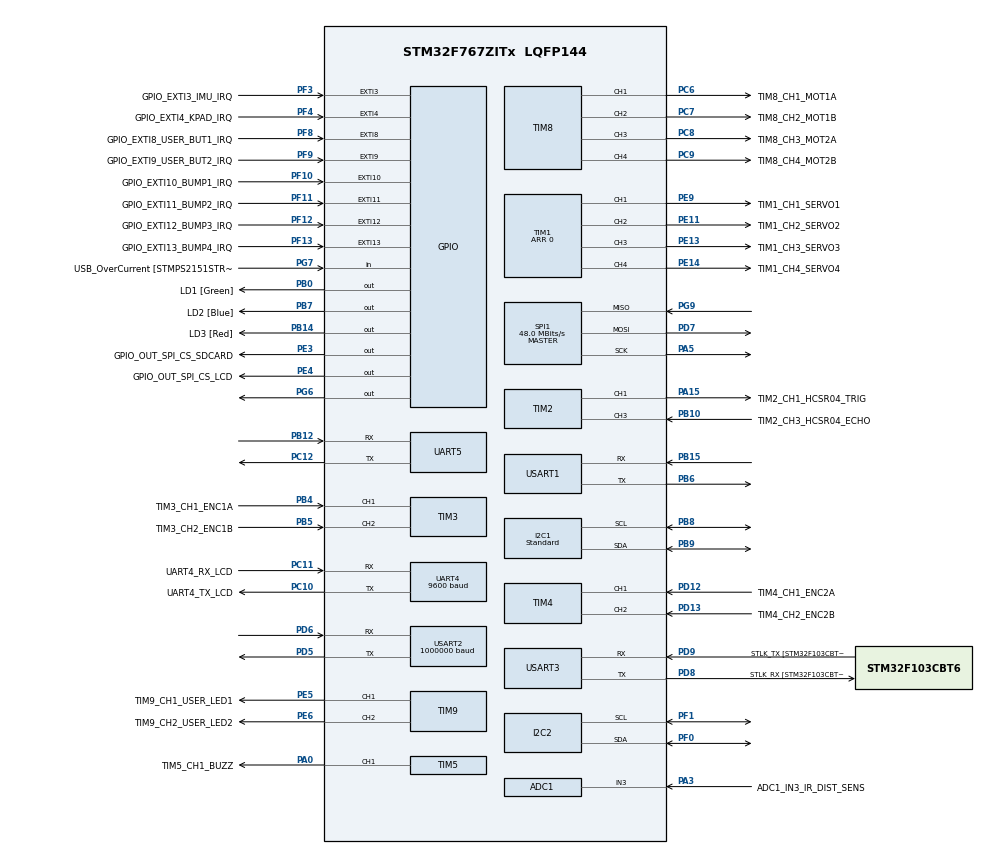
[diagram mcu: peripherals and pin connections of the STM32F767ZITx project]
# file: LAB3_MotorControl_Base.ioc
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ADC1.Channel-1\#ChannelRegularConversion=ADC_CHANNEL_3
ADC1.NbrOfConversionFlag=1
ADC1.Rank-1\#ChannelRegularConversion=1
ADC1.SamplingTime-1\#ChannelRegularConversion=ADC_SAMPLETIME_3CYCLES
ADC1.master=1
I2C1.I2C_Speed_Mode=I2C_Standard
I2C1.Timing=0x20303E5D
I2C2.Timing=0x20303E5D
Mcu.Family=STM32F7
Mcu.Name=STM32F767ZITx
Mcu.Package=LQFP144
Mcu.UserConstants=TIM3_ARR_VALUE,3839;TIM4_ARR_VALUE,3839;TIM8_PSC_VALUE,959;TIM8_ARR_VALUE,399;TIM6_PSC_VALUE,959;TIM6_ARR_VALUE,999;TIM1_PSC_VALUE,959;TIM1_ARR_VALUE,1999
NVIC.PriorityGroup=NVIC_PRIORITYGROUP_4
NVIC.TIM6_DAC_IRQn=true\:1\:0\:true\:false\:true\:true\:true\:true
PA0/WKUP.GPIO_Label=TIM5_CH1_BUZZ
PA0/WKUP.Signal=S_TIM5_CH1
PA1.GPIO_Label=RMII_REF_CLK [LAN8742A-CZ-TR_REFCLK0]
PA1.Signal=ETH_REF_CLK
PA10.GPIO_Label=USB_ID
PA10.Signal=USB_OTG_FS_ID
PA11.GPIO_Label=USB_DM
PA11.Signal=USB_OTG_FS_DM
PA12.GPIO_Label=USB_DP
PA12.Signal=USB_OTG_FS_DP
PA13.GPIO_Label=TMS
PA13.Mode=Serial_Wire
PA13.Signal=SYS_JTMS-SWDIO
PA14.GPIO_Label=TCK
PA14.Mode=Serial_Wire
PA14.Signal=SYS_JTCK-SWCLK
PA15.GPIO_Label=TIM2_CH1_HCSR04_TRIG
PA15.Signal=S_TIM2_CH1_ETR
PA2.GPIO_Label=RMII_MDIO [LAN8742A-CZ-TR_MDIO]
PA2.Signal=ETH_MDIO
PA3.GPIO_Label=ADC1_IN3_IR_DIST_SENS
PA3.Signal=ADCx_IN3
PA5.Mode=Full_Duplex_Master
PA5.Signal=SPI1_SCK
PA7.GPIO_Label=RMII_CRS_DV [LAN8742A-CZ-TR_CRS_DV]
PA7.Signal=ETH_CRS_DV
PA8.GPIO_Label=USB_SOF [TP1]
PA8.Signal=USB_OTG_FS_SOF
PA9.GPIO_Label=USB_VBUS
PA9.Signal=USB_OTG_FS_VBUS
PB0.GPIO_Label=LD1 [Green]
PB0.Signal=GPIO_Output
PB10.GPIO_Label=TIM2_CH3_HCSR04_ECHO
PB10.Signal=S_TIM2_CH3
PB12.Mode=Asynchronous
PB12.Signal=UART5_RX
PB13.GPIO_Label=RMII_TXD1 [LAN8742A-CZ-TR_TXD1]
PB13.Signal=ETH_TXD1
PB14.GPIO_Label=LD3 [Red]
PB14.Signal=GPIO_Output
PB15.Mode=Asynchronous
PB15.Signal=USART1_RX
PB3.GPIO_Label=SWO
PB3.Signal=SYS_JTDO-SWO
PB4.GPIO_Label=TIM3_CH1_ENC1A
PB4.Signal=S_TIM3_CH1
PB5.GPIO_Label=TIM3_CH2_ENC1B
PB5.Signal=S_TIM3_CH2
PB6.Mode=Asynchronous
PB6.Signal=USART1_TX
PB7.GPIO_Label=LD2 [Blue]
PB7.Signal=GPIO_Output
PB8.GPIO_Pu=GPIO_PULLUP
PB8.Mode=I2C
PB8.Signal=I2C1_SCL
PB9.GPIO_Pu=GPIO_PULLUP
PB9.Mode=I2C
PB9.Signal=I2C1_SDA
PC1.GPIO_Label=RMII_MDC [LAN8742A-CZ-TR_MDC]
PC1.Signal=ETH_MDC
PC10.GPIO_Label=UART4_TX_LCD
PC10.Mode=Asynchronous
PC10.Signal=UART4_TX
PC11.GPIO_Label=UART4_RX_LCD
PC11.Mode=Asynchronous
PC11.Signal=UART4_RX
PC12.Mode=Asynchronous
PC12.Signal=UART5_TX
PC14/OSC32_IN.Mode=LSE-External-Oscillator
PC14/OSC32_IN.Signal=RCC_OSC32_IN
PC15/OSC32_OUT.Mode=LSE-External-Oscillator
PC15/OSC32_OUT.Signal=RCC_OSC32_OUT
PC4.GPIO_Label=RMII_RXD0 [LAN8742A-CZ-TR_RXD0]
PC4.Signal=ETH_RXD0
PC5.GPIO_Label=RMII_RXD1 [LAN8742A-CZ-TR_RXD1]
PC5.Signal=ETH_RXD1
PC6.GPIO_Label=TIM8_CH1_MOT1A
PC6.Signal=S_TIM8_CH1
PC7.GPIO_Label=TIM8_CH2_MOT1B
PC7.Signal=S_TIM8_CH2
PC8.GPIO_Label=TIM8_CH3_MOT2A
PC8.Signal=S_TIM8_CH3
PC9.GPIO_Label=TIM8_CH4_MOT2B
PC9.Signal=S_TIM8_CH4
PD12.GPIO_Label=TIM4_CH1_ENC2A
PD12.Signal=S_TIM4_CH1
PD13.GPIO_Label=TIM4_CH2_ENC2B
PD13.Signal=S_TIM4_CH2
PD5.Mode=Asynchronous
PD5.Signal=USART2_TX
PD6.Mode=Asynchronous
PD6.Signal=USART2_RX
PD7.Mode=Full_Duplex_Master
PD7.Signal=SPI1_MOSI
PD8.GPIO_Label=STLK_RX [STM32F103CBT6_PA3]
PD8.Mode=Asynchronous
PD8.Signal=USART3_TX
PD9.GPIO_Label=STLK_TX [STM32F103CBT6_PA2]
PD9.Mode=Asynchronous
PD9.Signal=USART3_RX
PE11.GPIO_Label=TIM1_CH2_SERVO2
PE11.Signal=S_TIM1_CH2
PE13.GPIO_Label=TIM1_CH3_SERVO3
PE13.Signal=S_TIM1_CH3
PE14.GPIO_Label=TIM1_CH4_SERVO4
PE14.Signal=S_TIM1_CH4
PE3.GPIO_Label=GPIO_OUT_SPI_CS_SDCARD
PE3.Signal=GPIO_Output
PE4.GPIO_Label=GPIO_OUT_SPI_CS_LCD
PE4.Signal=GPIO_Output
PE5.GPIO_Label=TIM9_CH1_USER_LED1
PE5.Signal=S_TIM9_CH1
PE6.GPIO_Label=TIM9_CH2_USER_LED2
PE6.Signal=S_TIM9_CH2
PE9.GPIO_Label=TIM1_CH1_SERVO1
PE9.Signal=S_TIM1_CH1
PF0.GPIO_Pu=GPIO_PULLUP
PF0.Mode=I2C
PF0.Signal=I2C2_SDA
PF1.GPIO_Pu=GPIO_PULLUP
PF1.Mode=I2C
PF1.Signal=I2C2_SCL
PF10.GPIO_Label=GPIO_EXTI10_BUMP1_IRQ
PF10.Signal=GPXTI10
PF11.GPIO_Label=GPIO_EXTI11_BUMP2_IRQ
PF11.Signal=GPXTI11
PF12.GPIO_Label=GPIO_EXTI12_BUMP3_IRQ
PF12.Signal=GPXTI12
PF13.GPIO_Label=GPIO_EXTI13_BUMP4_IRQ
PF13.Signal=GPXTI13
PF3.GPIO_Label=GPIO_EXTI3_IMU_IRQ
PF3.Signal=GPXTI3
PF4.GPIO_Label=GPIO_EXTI4_KPAD_IRQ
PF4.GPIO_ModeDefaultEXTI=GPIO_MODE_IT_FALLING
PF4.Signal=GPXTI4
PF8.GPIO_Label=GPIO_EXTI8_USER_BUT1_IRQ
PF8.Signal=GPXTI8
PF9.GPIO_Label=GPIO_EXTI9_USER_BUT2_IRQ
PF9.Signal=GPXTI9
PG11.GPIO_Label=RMII_TX_EN [LAN8742A-CZ-TR_TXEN]
PG11.Signal=ETH_TX_EN
PG13.GPIO_Label=RMII_TXD0 [LAN8742A-CZ-TR_TXD0]
PG13.Signal=ETH_TXD0
PG6.Signal=GPIO_Output
PG7.GPIO_Label=USB_OverCurrent [STMPS2151STR_FAULT]
PG7.Signal=GPIO_Input
PG9.Mode=Full_Duplex_Master
PG9.Signal=SPI1_MISO
PH0/OSC_IN.GPIO_Label=MCO [STM32F103CBT6_PA8]
PH0/OSC_IN.Mode=HSE-External-Clock-Source
PH0/OSC_IN.Signal=RCC_OSC_IN
PH1/OSC_OUT.Mode=HSE-External-Clock-Source
PH1/OSC_OUT.Signal=RCC_OSC_OUT
ProjectManager.HeapSize=0x200
ProjectManager.StackSize=0x400
ProjectManager.TargetToolchain=STM32CubeIDE
RCC.48MHZClocksFreq_Value=24000000
RCC.AHBFreq_Value=96000000
RCC.APB1CLKDivider=RCC_HCLK_DIV2
RCC.APB1Freq_Value=48000000
RCC.APB1TimFreq_Value=96000000
RCC.APB2Freq_Value=96000000
RCC.APB2TimFreq_Value=96000000
RCC.CortexFreq_Value=96000000
RCC.HCLKFreq_Value=96000000
RCC.HSE_VALUE=8000000
RCC.HSI_VALUE=16000000
RCC.PLLM=4
RCC.PLLMUL=RCC_PLL_MUL9
RCC.PLLN=96
RCC.PLLQ=4
RCC.PLLSourceVirtual=RCC_PLLSOURCE_HSE
RCC.PRESCALERUSB=RCC_USBCLKSOURCE_PLL_DIV1_5
RCC.SYSCLKFreq_VALUE=96000000
RCC.SYSCLKSource=RCC_SYSCLKSOURCE_PLLCLK
RCC.SYSCLKSourceVirtual=RCC_SYSCLKSOURCE_PLLCLK
RCC.USBFreq_Value=48000000
RCC.VCOOutputFreq_Value=192000000
SH.ADCx_IN3.0=ADC1_IN3,IN3
SH.S_TIM1_CH1.0=TIM1_CH1,Forced Output1 CH1
SH.S_TIM1_CH2.0=TIM1_CH2,Forced Output2 CH2
SH.S_TIM1_CH3.0=TIM1_CH3,Forced Output3 CH3
SH.S_TIM1_CH4.0=TIM1_CH4,Forced Output4 CH4
SH.S_TIM2_CH1_ETR.0=TIM2_CH1,PWM Generation1 CH1
SH.S_TIM2_CH3.0=TIM2_CH3,Input_Capture3_from_TI3
SH.S_TIM3_CH1.0=TIM3_CH1,Encoder_Interface
SH.S_TIM3_CH2.0=TIM3_CH2,Encoder_Interface
SH.S_TIM4_CH1.0=TIM4_CH1,Encoder_Interface
SH.S_TIM4_CH2.0=TIM4_CH2,Encoder_Interface
SH.S_TIM5_CH1.0=TIM5_CH1,PWM Generation1 CH1
SH.S_TIM8_CH1.0=TIM8_CH1,PWM Generation1 CH1
SH.S_TIM8_CH2.0=TIM8_CH2,PWM Generation2 CH2
SH.S_TIM8_CH3.0=TIM8_CH3,PWM Generation3 CH3
SH.S_TIM8_CH4.0=TIM8_CH4,PWM Generation4 CH4
SH.S_TIM9_CH1.0=TIM9_CH1,PWM Generation1 CH1
SH.S_TIM9_CH2.0=TIM9_CH2,PWM Generation2 CH2
SPI1.CalculateBaudRate=48.0 MBits/s
SPI1.Direction=SPI_DIRECTION_2LINES
SPI1.Mode=SPI_MODE_MASTER
SPI1.VirtualType=VM_MASTER
TIM1.Channel-Forced\ Output1\ CH1=TIM_CHANNEL_1
TIM1.Channel-Forced\ Output2\ CH2=TIM_CHANNEL_2
TIM1.Channel-Forced\ Output3\ CH3=TIM_CHANNEL_3
TIM1.Channel-Forced\ Output4\ CH4=TIM_CHANNEL_4
TIM1.OCPolarity_1=TIM_OCPOLARITY_LOW
TIM1.OCPolarity_2=TIM_OCPOLARITY_LOW
TIM1.OCPolarity_3=TIM_OCPOLARITY_LOW
TIM1.OCPolarity_4=TIM_OCPOLARITY_LOW
TIM1.Period=0
TIM2.Channel-Input_Capture3_from_TI3=TIM_CHANNEL_3
TIM2.Channel-PWM\ Generation1\ CH1=TIM_CHANNEL_1
TIM3.EncoderMode=TIM_ENCODERMODE_TI12
TIM3.IC1Filter=15
TIM3.IC2Filter=15
TIM3.Period=TIM3_ARR_VALUE
TIM4.EncoderMode=TIM_ENCODERMODE_TI12
TIM4.IC1Filter=15
TIM4.IC2Filter=15
TIM4.Period=TIM4_ARR_VALUE
TIM5.Channel-PWM\ Generation1\ CH1=TIM_CHANNEL_1
TIM6.Period=TIM6_ARR_VALUE
TIM6.Prescaler=TIM6_PSC_VALUE
TIM8.Channel-PWM\ Generation1\ CH1=TIM_CHANNEL_1
TIM8.Channel-PWM\ Generation2\ CH2=TIM_CHANNEL_2
TIM8.Channel-PWM\ Generation3\ CH3=TIM_CHANNEL_3
TIM8.Channel-PWM\ Generation4\ CH4=TIM_CHANNEL_4
TIM8.Period=TIM8_ARR_VALUE
TIM8.Prescaler=TIM8_PSC_VALUE
TIM9.Channel-PWM\ Generation1\ CH1=TIM_CHANNEL_1
TIM9.Channel-PWM\ Generation2\ CH2=TIM_CHANNEL_2
UART4.BaudRate=9600
USART1.VirtualMode-Asynchronous=VM_ASYNC
USART2.BaudRate=1000000
USART2.VirtualMode-Asynchronous=VM_ASYNC
USART3.VirtualMode-Asynchronous=VM_ASYNC
VP_TIM1_VS_ClockSourceINT.Mode=Internal
VP_TIM2_VS_ClockSourceINT.Mode=Internal
VP_TIM5_VS_ClockSourceINT.Mode=Internal
VP_TIM6_VS_ClockSourceINT.Mode=Enable_Timer
VP_TIM8_VS_ClockSourceINT.Mode=Internal
board=NUCLEO-F767ZI

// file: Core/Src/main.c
/* USER CODE BEGIN Header */
/**
 ******************************************************************************
 * @file           : main.c
 * @brief          : Main program body
 ******************************************************************************
 * @attention
 *
 * <h2><center>&copy; Copyright (c) 2021 STMicroelectronics.
 * All rights reserved.</center></h2>
 *
 * This software component is licensed by ST under BSD 3-Clause license,
 * the "License"; You may not use this file except in compliance with the
 * License. You may obtain a copy of the License at:
 *                        opensource.org/licenses/BSD-3-Clause
 *
 ******************************************************************************
 */
/* USER CODE END Header */
#include "main.h"

/* USER CODE BEGIN Includes */
#include <math.h>
#include <stdbool.h>
#include "ertc-datalogger.h"
#include "motor_control.h"
#include "keypad.h"

/* USER CODE END Includes */

/* USER CODE BEGIN PD */
//#define	HAL_TIMEOUT		1
/* USER CODE END PD */

ADC_HandleTypeDef hadc1;

I2C_HandleTypeDef hi2c1;
I2C_HandleTypeDef hi2c2;

SPI_HandleTypeDef hspi1;

TIM_HandleTypeDef htim1;
TIM_HandleTypeDef htim2;
TIM_HandleTypeDef htim3;
TIM_HandleTypeDef htim4;
TIM_HandleTypeDef htim5;
TIM_HandleTypeDef htim6;
TIM_HandleTypeDef htim8;
TIM_HandleTypeDef htim9;

UART_HandleTypeDef huart4;
UART_HandleTypeDef huart5;
UART_HandleTypeDef huart1;
UART_HandleTypeDef huart2;
UART_HandleTypeDef huart3;

/* USER CODE BEGIN PV */
struct ertc_dlog logger;
/* USER CODE END PV */

void SystemClock_Config(void);
static void MX_GPIO_Init(void);
static void MX_USART3_UART_Init(void);
static void MX_ADC1_Init(void);
static void MX_I2C1_Init(void);
static void MX_I2C2_Init(void);
static void MX_SPI1_Init(void);
static void MX_TIM1_Init(void);
static void MX_TIM2_Init(void);
static void MX_TIM3_Init(void);
static void MX_TIM4_Init(void);
static void MX_TIM5_Init(void);
static void MX_TIM8_Init(void);
static void MX_UART4_Init(void);
static void MX_UART5_Init(void);
static void MX_USART1_UART_Init(void);
static void MX_USART2_UART_Init(void);
static void MX_TIM9_Init(void);
static void MX_TIM6_Init(void);

/* USER CODE BEGIN 0 */
struct datalog {
	float mot1_ref;
	float mot2_ref;
	float mot1_speed_rpm;
	float mot2_speed_rpm;
	float u1;
	float u2;
} data;

Encoder motor1_encoder = { .prev_count = 0, .speed_rpm = 0 };

Encoder motor2_encoder = { .prev_count = 0, .speed_rpm = 0 };

PI_Controller motor1_pi = { .kp = 5, .ki = 4, .integral = 0, .ref = 60 };

PI_Controller motor2_pi = { .kp = 5, .ki = 4, .integral = 0, .ref = 60 };

// Set reference speed with keypad
char input_buffer[6] = { 0 };  // To store up to 5 digits
int input_index = 0;

void handle_keypad_input(PI_Controller *controller) {
	char key = get_keypad_key();
	// Print the pressed button - safety check
	if (key != '\0') {
		printf("Key pressed: %c\n", key);
	}

	if (key >= '0' && key <= '9') {
		if (input_index < sizeof(input_buffer) - 1) {
			input_buffer[input_index++] = key;
			input_buffer[input_index] = '\0';
		}
	} else if (key == '#') {
		if (input_index > 0) {
			float new_ref = atof(input_buffer);  // ASCII to Float
			// TODO check speed bound on reference
			controller->ref = new_ref;

			// Workaround the impossibility to print float
			int sp_int = (int) (new_ref * 100);
			printf("Reference speed = %d.%02d\n RPM", sp_int / 100,
					sp_int % 100);
		}
		input_index = 0;
		input_buffer[0] = '\0';
	} else if (key == '*') {
		input_index = 0;
		input_buffer[0] = '\0';
		printf("Input cleared\n");
	}
}

void HAL_TIM_PeriodElapsedCallback(TIM_HandleTypeDef *htim) {
	if (htim->Instance == TIM6) {
		// Motor 1
		encoder_update(&motor1_encoder, &htim3, 3840);
		float u1 = pi_control(&motor1_pi, motor1_encoder.speed_rpm);
		int32_t duty1 = (int32_t) (u1 * V2DUTY);
		set_motor_pwm(duty1, &htim8, TIM_CHANNEL_1, TIM_CHANNEL_2);

		// Motor 2
		encoder_update(&motor2_encoder, &htim4, 3840);
		float u2 = pi_control(&motor2_pi, motor2_encoder.speed_rpm);
		int32_t duty2 = (int32_t) (u2 * V2DUTY);
		set_motor_pwm(duty2, &htim8, TIM_CHANNEL_3, TIM_CHANNEL_4);

		data.mot1_ref = motor1_pi.ref;
		data.mot2_ref = motor2_pi.ref;
		data.mot1_speed_rpm = motor1_encoder.speed_rpm;
		data.mot2_speed_rpm = motor2_encoder.speed_rpm;
		data.u1 = u1;
		data.u1 = u2;
	}
}
/* USER CODE END 0 */

int main(void) {

/* USER CODE BEGIN 1 */
uint8_t data;
HAL_StatusTypeDef status;
/* USER CODE END 1 */

/* Reset of all peripherals, Initializes the Flash interface and the Systick. */
HAL_Init();

/* Configure the system clock */
SystemClock_Config();

/* Initialize all configured peripherals */
MX_GPIO_Init();
MX_USART3_UART_Init();
MX_ADC1_Init();
MX_I2C1_Init();
MX_I2C2_Init();
MX_SPI1_Init();
MX_TIM1_Init();
MX_TIM2_Init();
MX_TIM3_Init();
MX_TIM4_Init();
MX_TIM5_Init();
MX_TIM8_Init();
MX_UART4_Init();
MX_UART5_Init();
MX_USART1_UART_Init();
MX_USART2_UART_Init();
MX_TIM9_Init();
MX_TIM6_Init();
/* USER CODE BEGIN 2 */

logger.uart_handle = huart3; // for serial
//logger.uart_handle = huart2; // for wifi

/* Reset LCD */
HAL_GPIO_WritePin(GPIO_OUT_SPI_CS_LCD_GPIO_Port, GPIO_OUT_SPI_CS_LCD_Pin,
		GPIO_PIN_SET);

HAL_NVIC_DisableIRQ(EXTI4_IRQn);

ITM_SendChar('h');

/* Software reset */
data = 0x12;
status = HAL_I2C_Mem_Write(&hi2c1, SX1509_I2C_ADDR2 << 1, REG_RESET, 1, &data,
		1, I2C_TIMEOUT);
if (status != HAL_OK)
	printf("I2C communication error (%X).\n", status);

data = 0x34;
status = HAL_I2C_Mem_Write(&hi2c1, SX1509_I2C_ADDR2 << 1, REG_RESET, 1, &data,
		1, I2C_TIMEOUT);
if (status != HAL_OK)
	printf("I2C communication error (%X).\n", status);

HAL_Delay(100);

/* Set KeyPad scanning engine */

/* Set RegClock to 0x40 (enable internal oscillator; 2MHz freq) */
data = 0x40;
status = HAL_I2C_Mem_Write(&hi2c1, SX1509_I2C_ADDR2 << 1, REG_CLOCK, 1, &data,
		1, I2C_TIMEOUT);
if (status != HAL_OK)
	printf("I2C communication error (%X).\n", status);

/* Set Bank A RegDir to 0xF0 (IO[0:3] as out) */
data = 0xF0;
status = HAL_I2C_Mem_Write(&hi2c1, SX1509_I2C_ADDR2 << 1, REG_DIR_A, 1, &data,
		1, I2C_TIMEOUT);
if (status != HAL_OK)
	printf("I2C communication error (%X).\n", status);

/* Set Bank B RegDir to 0x0F (IO[8:11] as in) */
data = 0x0F;
status = HAL_I2C_Mem_Write(&hi2c1, SX1509_I2C_ADDR2 << 1, REG_DIR_B, 1, &data,
		1, I2C_TIMEOUT);
if (status != HAL_OK)
	printf("I2C communication error (%X).\n", status);

/* Set Bank A RegOpenDrain to 0x0F (IO[0:3] as open-drain outputs) */
data = 0x0F;
status = HAL_I2C_Mem_Write(&hi2c1, SX1509_I2C_ADDR2 << 1, REG_OPEN_DRAIN_A, 1,
		&data, 1, I2C_TIMEOUT);
if (status != HAL_OK)
	printf("I2C communication error (%X).\n", status);

/* Set Bank B RegPullup to 0x0F (pull-ups enabled on inputs IO[8:11]) */
data = 0x0F;
status = HAL_I2C_Mem_Write(&hi2c1, SX1509_I2C_ADDR2 << 1, REG_PULL_UP_B, 1,
		&data, 1, I2C_TIMEOUT);
if (status != HAL_OK)
	printf("I2C communication error (%X).\n", status);

/* Set Bank B RegDebounceEnable to 0x0F (enable debouncing on IO[8:11]) */
data = 0x0F;
status = HAL_I2C_Mem_Write(&hi2c1, SX1509_I2C_ADDR2 << 1,
REG_DEBOUNCE_ENABLE_B, 1, &data, 1, I2C_TIMEOUT);
if (status != HAL_OK)
	printf("I2C communication error (%X).\n", status);

/* Set RegDebounceConfig to 0x05 (16ms debounce time) */
data = 0x05;
status = HAL_I2C_Mem_Write(&hi2c1, SX1509_I2C_ADDR2 << 1,
REG_DEBOUNCE_CONFIG, 1, &data, 1, I2C_TIMEOUT);
if (status != HAL_OK)
	printf("I2C communication error (%X).\n", status);

/* Set RegKeyConfig1 to 0x7D (8s auto-sleep; 32ms scan time per row) */
data = 0x7D;
status = HAL_I2C_Mem_Write(&hi2c1, SX1509_I2C_ADDR2 << 1, REG_KEY_CONFIG_1, 1,
		&data, 1, I2C_TIMEOUT);
if (status != HAL_OK)
	printf("I2C communication error (%X).\n", status);

/* Set RegKeyConfig2 to 0x1B (4 rows; 4 columns) */
data = 0x1B;
status = HAL_I2C_Mem_Write(&hi2c1, SX1509_I2C_ADDR2 << 1, REG_KEY_CONFIG_2, 1,
		&data, 1, I2C_TIMEOUT);
if (status != HAL_OK)
	printf("I2C communication error (%X).\n", status);

/* Enable EXTI4_IRQ after SX1509 initialization */
HAL_Delay(100);
HAL_NVIC_EnableIRQ(EXTI4_IRQn);

/* Disable EXTI2_IRQ during SX1509 initialization */
HAL_NVIC_DisableIRQ(EXTI2_IRQn);

/* Software reset */
data = 0x12;
status = HAL_I2C_Mem_Write(&hi2c1, SX1509_I2C_ADDR1 << 1, REG_RESET, 1, &data,
		1, I2C_TIMEOUT);
if (status != HAL_OK)
	printf("I2C communication error (%X).\n", status);

data = 0x34;
status = HAL_I2C_Mem_Write(&hi2c1, SX1509_I2C_ADDR1 << 1, REG_RESET, 1, &data,
		1, I2C_TIMEOUT);
if (status != HAL_OK)
	printf("I2C communication error (%X).\n", status);

HAL_Delay(100);

/* Set RegDirA to 0xFF (all IO of Bank A configured as inputs) */
data = 0xFF; // 0 = out; 1 = in
status = HAL_I2C_Mem_Write(&hi2c1, SX1509_I2C_ADDR1 << 1, REG_DIR_A, 1, &data,
		1, I2C_TIMEOUT);
if (status != HAL_OK)
	printf("I2C communication error (%X).\n", status);

/* Set RegDirB to 0xFF (all IO of Bank B configured as inputs) */
data = 0xFF; // 0 = out; 1 = in
status = HAL_I2C_Mem_Write(&hi2c1, SX1509_I2C_ADDR1 << 1, REG_DIR_B, 1, &data,
		1, I2C_TIMEOUT);
if (status != HAL_OK)
	printf("I2C communication error (%X).\n", status);

/* Set RegInterruptMaskA to 0x00 (all IO of Bank A will trigger an interrupt) */
data = 0x00;
status = HAL_I2C_Mem_Write(&hi2c1, SX1509_I2C_ADDR1 << 1,
REG_INTERRUPT_MASK_A, 1, &data, 1, I2C_TIMEOUT);
if (status != HAL_OK)
	printf("I2C communication error (%X).\n", status);

/* Set RegSenseHighA to 0xAA (IO[7:4] of Bank A will trigger an interrupt on falling edge) */
data = 0xAA;
status = HAL_I2C_Mem_Write(&hi2c1, SX1509_I2C_ADDR1 << 1, REG_SENSE_HIGH_A, 1,
		&data, 1, I2C_TIMEOUT);
if (status != HAL_OK)
	printf("I2C communication error (%X).\n", status);

/* Set RegSenseLowA to 0xAA (IO[3:0] of Bank A will trigger an interrupt on falling edge) */
data = 0xAA;
status = HAL_I2C_Mem_Write(&hi2c1, SX1509_I2C_ADDR1 << 1, REG_SENSE_LOW_A, 1,
		&data, 1, I2C_TIMEOUT);
if (status != HAL_OK)
	printf("I2C communication error (%X).\n", status);

/* Enable EXTI2_IRQ after SX1509 initialization */
HAL_Delay(100);
HAL_NVIC_EnableIRQ(EXTI2_IRQn);

printf("Ready\n");

HAL_Delay(1000);

/* Start encoders timers */
HAL_TIM_Encoder_Start(&htim3, TIM_CHANNEL_ALL);
HAL_TIM_Encoder_Start(&htim4, TIM_CHANNEL_ALL);

/* Start servomotors PWM (avoid floating inputs to servomotors) */
HAL_TIM_PWM_Start(&htim1, TIM_CHANNEL_1);
HAL_TIM_PWM_Start(&htim1, TIM_CHANNEL_2);
HAL_TIM_PWM_Start(&htim1, TIM_CHANNEL_3);
HAL_TIM_PWM_Start(&htim1, TIM_CHANNEL_4);

/* Start motor PWM */
__HAL_TIM_SET_COMPARE(&htim8, TIM_CHANNEL_1, 0);
__HAL_TIM_SET_COMPARE(&htim8, TIM_CHANNEL_2, 0);
__HAL_TIM_SET_COMPARE(&htim8, TIM_CHANNEL_3, 0);
__HAL_TIM_SET_COMPARE(&htim8, TIM_CHANNEL_4, 0);

HAL_TIM_PWM_Start(&htim8, TIM_CHANNEL_1);
HAL_TIM_PWM_Start(&htim8, TIM_CHANNEL_2);
HAL_TIM_PWM_Start(&htim8, TIM_CHANNEL_3);
HAL_TIM_PWM_Start(&htim8, TIM_CHANNEL_4);

/* Start speed ctrl ISR */
HAL_TIM_Base_Start_IT(&htim6);

/* USER CODE END 2 */

/* Infinite loop */
while (1) {

	/* USER CODE BEGIN 3 */
	handle_keypad_input(&motor1_pi);
	HAL_Delay(100);  // Prevent double reads if holding a key
	ertc_dlog_update(&logger);

}
/* USER CODE END 3 */
}

void SystemClock_Config(void) {
RCC_OscInitTypeDef RCC_OscInitStruct = { 0 };
RCC_ClkInitTypeDef RCC_ClkInitStruct = { 0 };

/** Configure LSE Drive Capability
 */
HAL_PWR_EnableBkUpAccess();

/** Configure the main internal regulator output voltage
 */
__HAL_RCC_PWR_CLK_ENABLE();
__HAL_PWR_VOLTAGESCALING_CONFIG(PWR_REGULATOR_VOLTAGE_SCALE3);

/** Initializes the RCC Oscillators according to the specified parameters
 * in the RCC_OscInitTypeDef structure.
 */
RCC_OscInitStruct.OscillatorType = RCC_OSCILLATORTYPE_HSE;
RCC_OscInitStruct.HSEState = RCC_HSE_BYPASS;
RCC_OscInitStruct.PLL.PLLState = RCC_PLL_ON;
RCC_OscInitStruct.PLL.PLLSource = RCC_PLLSOURCE_HSE;
RCC_OscInitStruct.PLL.PLLM = 4;
RCC_OscInitStruct.PLL.PLLN = 96;
RCC_OscInitStruct.PLL.PLLP = RCC_PLLP_DIV2;
RCC_OscInitStruct.PLL.PLLQ = 4;
RCC_OscInitStruct.PLL.PLLR = 2;
if (HAL_RCC_OscConfig(&RCC_OscInitStruct) != HAL_OK) {
	Error_Handler();
}

/** Activate the Over-Drive mode
 */
if (HAL_PWREx_EnableOverDrive() != HAL_OK) {
	Error_Handler();
}

/** Initializes the CPU, AHB and APB buses clocks
 */
RCC_ClkInitStruct.ClockType = RCC_CLOCKTYPE_HCLK | RCC_CLOCKTYPE_SYSCLK
		| RCC_CLOCKTYPE_PCLK1 | RCC_CLOCKTYPE_PCLK2;
RCC_ClkInitStruct.SYSCLKSource = RCC_SYSCLKSOURCE_PLLCLK;
RCC_ClkInitStruct.AHBCLKDivider = RCC_SYSCLK_DIV1;
RCC_ClkInitStruct.APB1CLKDivider = RCC_HCLK_DIV2;
RCC_ClkInitStruct.APB2CLKDivider = RCC_HCLK_DIV1;

if (HAL_RCC_ClockConfig(&RCC_ClkInitStruct, FLASH_LATENCY_3) != HAL_OK) {
	Error_Handler();
}
}

static void MX_ADC1_Init(void) {

ADC_ChannelConfTypeDef sConfig = { 0 };

/** Configure the global features of the ADC (Clock, Resolution, Data Alignment and number of conversion)
 */
hadc1.Instance = ADC1;
hadc1.Init.ClockPrescaler = ADC_CLOCK_SYNC_PCLK_DIV4;
hadc1.Init.Resolution = ADC_RESOLUTION_12B;
hadc1.Init.ScanConvMode = ADC_SCAN_DISABLE;
hadc1.Init.ContinuousConvMode = DISABLE;
hadc1.Init.DiscontinuousConvMode = DISABLE;
hadc1.Init.ExternalTrigConvEdge = ADC_EXTERNALTRIGCONVEDGE_NONE;
hadc1.Init.ExternalTrigConv = ADC_SOFTWARE_START;
hadc1.Init.DataAlign = ADC_DATAALIGN_RIGHT;
hadc1.Init.NbrOfConversion = 1;
hadc1.Init.DMAContinuousRequests = DISABLE;
hadc1.Init.EOCSelection = ADC_EOC_SINGLE_CONV;
if (HAL_ADC_Init(&hadc1) != HAL_OK) {
	Error_Handler();
}

/** Configure for the selected ADC regular channel its corresponding rank in the sequencer and its sample time.
 */
sConfig.Channel = ADC_CHANNEL_3;
sConfig.Rank = ADC_REGULAR_RANK_1;
sConfig.SamplingTime = ADC_SAMPLETIME_3CYCLES;
if (HAL_ADC_ConfigChannel(&hadc1, &sConfig) != HAL_OK) {
	Error_Handler();
}

}

static void MX_I2C1_Init(void) {

hi2c1.Instance = I2C1;
hi2c1.Init.Timing = 0x20303E5D;
hi2c1.Init.OwnAddress1 = 0;
hi2c1.Init.AddressingMode = I2C_ADDRESSINGMODE_7BIT;
hi2c1.Init.DualAddressMode = I2C_DUALADDRESS_DISABLE;
hi2c1.Init.OwnAddress2 = 0;
hi2c1.Init.OwnAddress2Masks = I2C_OA2_NOMASK;
hi2c1.Init.GeneralCallMode = I2C_GENERALCALL_DISABLE;
hi2c1.Init.NoStretchMode = I2C_NOSTRETCH_DISABLE;
if (HAL_I2C_Init(&hi2c1) != HAL_OK) {
	Error_Handler();
}

/** Configure Analogue filter
 */
if (HAL_I2CEx_ConfigAnalogFilter(&hi2c1, I2C_ANALOGFILTER_ENABLE) != HAL_OK) {
	Error_Handler();
}

/** Configure Digital filter
 */
if (HAL_I2CEx_ConfigDigitalFilter(&hi2c1, 0) != HAL_OK) {
	Error_Handler();
}

}

static void MX_I2C2_Init(void) {

hi2c2.Instance = I2C2;
hi2c2.Init.Timing = 0x20303E5D;
hi2c2.Init.OwnAddress1 = 0;
hi2c2.Init.AddressingMode = I2C_ADDRESSINGMODE_7BIT;
hi2c2.Init.DualAddressMode = I2C_DUALADDRESS_DISABLE;
hi2c2.Init.OwnAddress2 = 0;
hi2c2.Init.OwnAddress2Masks = I2C_OA2_NOMASK;
hi2c2.Init.GeneralCallMode = I2C_GENERALCALL_DISABLE;
hi2c2.Init.NoStretchMode = I2C_NOSTRETCH_DISABLE;
if (HAL_I2C_Init(&hi2c2) != HAL_OK) {
	Error_Handler();
}

/** Configure Analogue filter
 */
if (HAL_I2CEx_ConfigAnalogFilter(&hi2c2, I2C_ANALOGFILTER_ENABLE) != HAL_OK) {
	Error_Handler();
}

/** Configure Digital filter
 */
if (HAL_I2CEx_ConfigDigitalFilter(&hi2c2, 0) != HAL_OK) {
	Error_Handler();
}

}

static void MX_SPI1_Init(void) {

/* SPI1 parameter configuration*/
hspi1.Instance = SPI1;
hspi1.Init.Mode = SPI_MODE_MASTER;
hspi1.Init.Direction = SPI_DIRECTION_2LINES;
hspi1.Init.DataSize = SPI_DATASIZE_4BIT;
hspi1.Init.CLKPolarity = SPI_POLARITY_LOW;
hspi1.Init.CLKPhase = SPI_PHASE_1EDGE;
hspi1.Init.NSS = SPI_NSS_SOFT;
hspi1.Init.BaudRatePrescaler = SPI_BAUDRATEPRESCALER_2;
hspi1.Init.FirstBit = SPI_FIRSTBIT_MSB;
hspi1.Init.TIMode = SPI_TIMODE_DISABLE;
hspi1.Init.CRCCalculation = SPI_CRCCALCULATION_DISABLE;
hspi1.Init.CRCPolynomial = 7;
hspi1.Init.CRCLength = SPI_CRC_LENGTH_DATASIZE;
hspi1.Init.NSSPMode = SPI_NSS_PULSE_ENABLE;
if (HAL_SPI_Init(&hspi1) != HAL_OK) {
	Error_Handler();
}

}

static void MX_TIM1_Init(void) {

TIM_ClockConfigTypeDef sClockSourceConfig = { 0 };
TIM_MasterConfigTypeDef sMasterConfig = { 0 };
TIM_OC_InitTypeDef sConfigOC = { 0 };
TIM_BreakDeadTimeConfigTypeDef sBreakDeadTimeConfig = { 0 };

htim1.Instance = TIM1;
htim1.Init.Prescaler = 0;
htim1.Init.CounterMode = TIM_COUNTERMODE_UP;
htim1.Init.Period = 0;
htim1.Init.ClockDivision = TIM_CLOCKDIVISION_DIV1;
htim1.Init.RepetitionCounter = 0;
htim1.Init.AutoReloadPreload = TIM_AUTORELOAD_PRELOAD_DISABLE;
if (HAL_TIM_Base_Init(&htim1) != HAL_OK) {
	Error_Handler();
}
sClockSourceConfig.ClockSource = TIM_CLOCKSOURCE_INTERNAL;
if (HAL_TIM_ConfigClockSource(&htim1, &sClockSourceConfig) != HAL_OK) {
	Error_Handler();
}
if (HAL_TIM_OC_Init(&htim1) != HAL_OK) {
	Error_Handler();
}
sMasterConfig.MasterOutputTrigger = TIM_TRGO_RESET;
sMasterConfig.MasterOutputTrigger2 = TIM_TRGO2_RESET;
sMasterConfig.MasterSlaveMode = TIM_MASTERSLAVEMODE_DISABLE;
if (HAL_TIMEx_MasterConfigSynchronization(&htim1, &sMasterConfig) != HAL_OK) {
	Error_Handler();
}
sConfigOC.OCMode = TIM_OCMODE_FORCED_ACTIVE;
sConfigOC.Pulse = 0;
sConfigOC.OCPolarity = TIM_OCPOLARITY_LOW;
sConfigOC.OCNPolarity = TIM_OCNPOLARITY_HIGH;
sConfigOC.OCFastMode = TIM_OCFAST_DISABLE;
sConfigOC.OCIdleState = TIM_OCIDLESTATE_RESET;
sConfigOC.OCNIdleState = TIM_OCNIDLESTATE_RESET;
if (HAL_TIM_OC_ConfigChannel(&htim1, &sConfigOC, TIM_CHANNEL_1) != HAL_OK) {
	Error_Handler();
}
if (HAL_TIM_OC_ConfigChannel(&htim1, &sConfigOC, TIM_CHANNEL_2) != HAL_OK) {
	Error_Handler();
}
if (HAL_TIM_OC_ConfigChannel(&htim1, &sConfigOC, TIM_CHANNEL_3) != HAL_OK) {
	Error_Handler();
}
if (HAL_TIM_OC_ConfigChannel(&htim1, &sConfigOC, TIM_CHANNEL_4) != HAL_OK) {
	Error_Handler();
}
sBreakDeadTimeConfig.OffStateRunMode = TIM_OSSR_DISABLE;
sBreakDeadTimeConfig.OffStateIDLEMode = TIM_OSSI_DISABLE;
sBreakDeadTimeConfig.LockLevel = TIM_LOCKLEVEL_OFF;
sBreakDeadTimeConfig.DeadTime = 0;
sBreakDeadTimeConfig.BreakState = TIM_BREAK_DISABLE;
sBreakDeadTimeConfig.BreakPolarity = TIM_BREAKPOLARITY_HIGH;
sBreakDeadTimeConfig.BreakFilter = 0;
sBreakDeadTimeConfig.Break2State = TIM_BREAK2_DISABLE;
sBreakDeadTimeConfig.Break2Polarity = TIM_BREAK2POLARITY_HIGH;
sBreakDeadTimeConfig.Break2Filter = 0;
sBreakDeadTimeConfig.AutomaticOutput = TIM_AUTOMATICOUTPUT_DISABLE;
if (HAL_TIMEx_ConfigBreakDeadTime(&htim1, &sBreakDeadTimeConfig) != HAL_OK) {
	Error_Handler();
}
HAL_TIM_MspPostInit(&htim1);

}

static void MX_TIM2_Init(void) {

TIM_ClockConfigTypeDef sClockSourceConfig = { 0 };
TIM_MasterConfigTypeDef sMasterConfig = { 0 };
TIM_OC_InitTypeDef sConfigOC = { 0 };
TIM_IC_InitTypeDef sConfigIC = { 0 };

htim2.Instance = TIM2;
htim2.Init.Prescaler = 0;
htim2.Init.CounterMode = TIM_COUNTERMODE_UP;
htim2.Init.Period = 4294967295;
htim2.Init.ClockDivision = TIM_CLOCKDIVISION_DIV1;
htim2.Init.AutoReloadPreload = TIM_AUTORELOAD_PRELOAD_DISABLE;
if (HAL_TIM_Base_Init(&htim2) != HAL_OK) {
	Error_Handler();
}
sClockSourceConfig.ClockSource = TIM_CLOCKSOURCE_INTERNAL;
if (HAL_TIM_ConfigClockSource(&htim2, &sClockSourceConfig) != HAL_OK) {
	Error_Handler();
}
if (HAL_TIM_PWM_Init(&htim2) != HAL_OK) {
	Error_Handler();
}
if (HAL_TIM_IC_Init(&htim2) != HAL_OK) {
	Error_Handler();
}
sMasterConfig.MasterOutputTrigger = TIM_TRGO_RESET;
sMasterConfig.MasterSlaveMode = TIM_MASTERSLAVEMODE_DISABLE;
if (HAL_TIMEx_MasterConfigSynchronization(&htim2, &sMasterConfig) != HAL_OK) {
	Error_Handler();
}
sConfigOC.OCMode = TIM_OCMODE_PWM1;
sConfigOC.Pulse = 0;
sConfigOC.OCPolarity = TIM_OCPOLARITY_HIGH;
sConfigOC.OCFastMode = TIM_OCFAST_DISABLE;
if (HAL_TIM_PWM_ConfigChannel(&htim2, &sConfigOC, TIM_CHANNEL_1) != HAL_OK) {
	Error_Handler();
}
sConfigIC.ICPolarity = TIM_INPUTCHANNELPOLARITY_RISING;
sConfigIC.ICSelection = TIM_ICSELECTION_DIRECTTI;
sConfigIC.ICPrescaler = TIM_ICPSC_DIV1;
sConfigIC.ICFilter = 0;
if (HAL_TIM_IC_ConfigChannel(&htim2, &sConfigIC, TIM_CHANNEL_3) != HAL_OK) {
	Error_Handler();
}
HAL_TIM_MspPostInit(&htim2);

}

static void MX_TIM3_Init(void) {

TIM_Encoder_InitTypeDef sConfig = { 0 };
TIM_MasterConfigTypeDef sMasterConfig = { 0 };

htim3.Instance = TIM3;
htim3.Init.Prescaler = 0;
htim3.Init.CounterMode = TIM_COUNTERMODE_UP;
htim3.Init.Period = TIM3_ARR_VALUE;
htim3.Init.ClockDivision = TIM_CLOCKDIVISION_DIV1;
htim3.Init.AutoReloadPreload = TIM_AUTORELOAD_PRELOAD_DISABLE;
sConfig.EncoderMode = TIM_ENCODERMODE_TI12;
sConfig.IC1Polarity = TIM_ICPOLARITY_RISING;
sConfig.IC1Selection = TIM_ICSELECTION_DIRECTTI;
sConfig.IC1Prescaler = TIM_ICPSC_DIV1;
sConfig.IC1Filter = 15;
sConfig.IC2Polarity = TIM_ICPOLARITY_RISING;
sConfig.IC2Selection = TIM_ICSELECTION_DIRECTTI;
sConfig.IC2Prescaler = TIM_ICPSC_DIV1;
sConfig.IC2Filter = 15;
if (HAL_TIM_Encoder_Init(&htim3, &sConfig) != HAL_OK) {
	Error_Handler();
}
sMasterConfig.MasterOutputTrigger = TIM_TRGO_RESET;
sMasterConfig.MasterSlaveMode = TIM_MASTERSLAVEMODE_DISABLE;
if (HAL_TIMEx_MasterConfigSynchronization(&htim3, &sMasterConfig) != HAL_OK) {
	Error_Handler();
}

}

static void MX_TIM4_Init(void) {

TIM_Encoder_InitTypeDef sConfig = { 0 };
TIM_MasterConfigTypeDef sMasterConfig = { 0 };

htim4.Instance = TIM4;
htim4.Init.Prescaler = 0;
htim4.Init.CounterMode = TIM_COUNTERMODE_UP;
htim4.Init.Period = TIM4_ARR_VALUE;
htim4.Init.ClockDivision = TIM_CLOCKDIVISION_DIV1;
htim4.Init.AutoReloadPreload = TIM_AUTORELOAD_PRELOAD_DISABLE;
sConfig.EncoderMode = TIM_ENCODERMODE_TI12;
sConfig.IC1Polarity = TIM_ICPOLARITY_RISING;
sConfig.IC1Selection = TIM_ICSELECTION_DIRECTTI;
sConfig.IC1Prescaler = TIM_ICPSC_DIV1;
sConfig.IC1Filter = 15;
sConfig.IC2Polarity = TIM_ICPOLARITY_RISING;
sConfig.IC2Selection = TIM_ICSELECTION_DIRECTTI;
sConfig.IC2Prescaler = TIM_ICPSC_DIV1;
sConfig.IC2Filter = 15;
if (HAL_TIM_Encoder_Init(&htim4, &sConfig) != HAL_OK) {
	Error_Handler();
}
sMasterConfig.MasterOutputTrigger = TIM_TRGO_RESET;
sMasterConfig.MasterSlaveMode = TIM_MASTERSLAVEMODE_DISABLE;
if (HAL_TIMEx_MasterConfigSynchronization(&htim4, &sMasterConfig) != HAL_OK) {
	Error_Handler();
}

}

static void MX_TIM5_Init(void) {

TIM_ClockConfigTypeDef sClockSourceConfig = { 0 };
TIM_MasterConfigTypeDef sMasterConfig = { 0 };
TIM_OC_InitTypeDef sConfigOC = { 0 };

htim5.Instance = TIM5;
htim5.Init.Prescaler = 0;
htim5.Init.CounterMode = TIM_COUNTERMODE_UP;
htim5.Init.Period = 4294967295;
htim5.Init.ClockDivision = TIM_CLOCKDIVISION_DIV1;
htim5.Init.AutoReloadPreload = TIM_AUTORELOAD_PRELOAD_DISABLE;
if (HAL_TIM_Base_Init(&htim5) != HAL_OK) {
	Error_Handler();
}
sClockSourceConfig.ClockSource = TIM_CLOCKSOURCE_INTERNAL;
if (HAL_TIM_ConfigClockSource(&htim5, &sClockSourceConfig) != HAL_OK) {
	Error_Handler();
}
if (HAL_TIM_PWM_Init(&htim5) != HAL_OK) {
	Error_Handler();
}
sMasterConfig.MasterOutputTrigger = TIM_TRGO_RESET;
sMasterConfig.MasterSlaveMode = TIM_MASTERSLAVEMODE_DISABLE;
if (HAL_TIMEx_MasterConfigSynchronization(&htim5, &sMasterConfig) != HAL_OK) {
	Error_Handler();
}
sConfigOC.OCMode = TIM_OCMODE_PWM1;
sConfigOC.Pulse = 0;
sConfigOC.OCPolarity = TIM_OCPOLARITY_HIGH;
sConfigOC.OCFastMode = TIM_OCFAST_DISABLE;
if (HAL_TIM_PWM_ConfigChannel(&htim5, &sConfigOC, TIM_CHANNEL_1) != HAL_OK) {
	Error_Handler();
}
HAL_TIM_MspPostInit(&htim5);

}

static void MX_TIM6_Init(void) {

TIM_MasterConfigTypeDef sMasterConfig = { 0 };

htim6.Instance = TIM6;
htim6.Init.Prescaler = TIM6_PSC_VALUE;
htim6.Init.CounterMode = TIM_COUNTERMODE_UP;
htim6.Init.Period = TIM6_ARR_VALUE;
htim6.Init.AutoReloadPreload = TIM_AUTORELOAD_PRELOAD_DISABLE;
if (HAL_TIM_Base_Init(&htim6) != HAL_OK) {
	Error_Handler();
}
sMasterConfig.MasterOutputTrigger = TIM_TRGO_RESET;
sMasterConfig.MasterSlaveMode = TIM_MASTERSLAVEMODE_DISABLE;
if (HAL_TIMEx_MasterConfigSynchronization(&htim6, &sMasterConfig) != HAL_OK) {
	Error_Handler();
}

}

static void MX_TIM8_Init(void) {

TIM_ClockConfigTypeDef sClockSourceConfig = { 0 };
TIM_MasterConfigTypeDef sMasterConfig = { 0 };
TIM_OC_InitTypeDef sConfigOC = { 0 };
TIM_BreakDeadTimeConfigTypeDef sBreakDeadTimeConfig = { 0 };

htim8.Instance = TIM8;
htim8.Init.Prescaler = TIM8_PSC_VALUE;
htim8.Init.CounterMode = TIM_COUNTERMODE_UP;
htim8.Init.Period = TIM8_ARR_VALUE;
htim8.Init.ClockDivision = TIM_CLOCKDIVISION_DIV1;
htim8.Init.RepetitionCounter = 0;
htim8.Init.AutoReloadPreload = TIM_AUTORELOAD_PRELOAD_DISABLE;
if (HAL_TIM_Base_Init(&htim8) != HAL_OK) {
	Error_Handler();
}
sClockSourceConfig.ClockSource = TIM_CLOCKSOURCE_INTERNAL;
if (HAL_TIM_ConfigClockSource(&htim8, &sClockSourceConfig) != HAL_OK) {
	Error_Handler();
}
if (HAL_TIM_PWM_Init(&htim8) != HAL_OK) {
	Error_Handler();
}
sMasterConfig.MasterOutputTrigger = TIM_TRGO_RESET;
sMasterConfig.MasterOutputTrigger2 = TIM_TRGO2_RESET;
sMasterConfig.MasterSlaveMode = TIM_MASTERSLAVEMODE_DISABLE;
if (HAL_TIMEx_MasterConfigSynchronization(&htim8, &sMasterConfig) != HAL_OK) {
	Error_Handler();
}
sConfigOC.OCMode = TIM_OCMODE_PWM1;
sConfigOC.Pulse = 0;
sConfigOC.OCPolarity = TIM_OCPOLARITY_HIGH;
sConfigOC.OCNPolarity = TIM_OCNPOLARITY_HIGH;
sConfigOC.OCFastMode = TIM_OCFAST_DISABLE;
sConfigOC.OCIdleState = TIM_OCIDLESTATE_RESET;
sConfigOC.OCNIdleState = TIM_OCNIDLESTATE_RESET;
if (HAL_TIM_PWM_ConfigChannel(&htim8, &sConfigOC, TIM_CHANNEL_1) != HAL_OK) {
	Error_Handler();
}
if (HAL_TIM_PWM_ConfigChannel(&htim8, &sConfigOC, TIM_CHANNEL_2) != HAL_OK) {
	Error_Handler();
}
if (HAL_TIM_PWM_ConfigChannel(&htim8, &sConfigOC, TIM_CHANNEL_3) != HAL_OK) {
	Error_Handler();
}
if (HAL_TIM_PWM_ConfigChannel(&htim8, &sConfigOC, TIM_CHANNEL_4) != HAL_OK) {
	Error_Handler();
}
sBreakDeadTimeConfig.OffStateRunMode = TIM_OSSR_DISABLE;
sBreakDeadTimeConfig.OffStateIDLEMode = TIM_OSSI_DISABLE;
sBreakDeadTimeConfig.LockLevel = TIM_LOCKLEVEL_OFF;
sBreakDeadTimeConfig.DeadTime = 0;
sBreakDeadTimeConfig.BreakState = TIM_BREAK_DISABLE;
sBreakDeadTimeConfig.BreakPolarity = TIM_BREAKPOLARITY_HIGH;
sBreakDeadTimeConfig.BreakFilter = 0;
sBreakDeadTimeConfig.Break2State = TIM_BREAK2_DISABLE;
sBreakDeadTimeConfig.Break2Polarity = TIM_BREAK2POLARITY_HIGH;
sBreakDeadTimeConfig.Break2Filter = 0;
sBreakDeadTimeConfig.AutomaticOutput = TIM_AUTOMATICOUTPUT_DISABLE;
if (HAL_TIMEx_ConfigBreakDeadTime(&htim8, &sBreakDeadTimeConfig) != HAL_OK) {
	Error_Handler();
}
HAL_TIM_MspPostInit(&htim8);

}

static void MX_TIM9_Init(void) {

TIM_OC_InitTypeDef sConfigOC = { 0 };

htim9.Instance = TIM9;
htim9.Init.Prescaler = 0;
htim9.Init.CounterMode = TIM_COUNTERMODE_UP;
htim9.Init.Period = 65535;
htim9.Init.ClockDivision = TIM_CLOCKDIVISION_DIV1;
htim9.Init.AutoReloadPreload = TIM_AUTORELOAD_PRELOAD_DISABLE;
if (HAL_TIM_PWM_Init(&htim9) != HAL_OK) {
	Error_Handler();
}
sConfigOC.OCMode = TIM_OCMODE_PWM1;
sConfigOC.Pulse = 0;
sConfigOC.OCPolarity = TIM_OCPOLARITY_HIGH;
sConfigOC.OCFastMode = TIM_OCFAST_DISABLE;
if (HAL_TIM_PWM_ConfigChannel(&htim9, &sConfigOC, TIM_CHANNEL_1) != HAL_OK) {
	Error_Handler();
}
if (HAL_TIM_PWM_ConfigChannel(&htim9, &sConfigOC, TIM_CHANNEL_2) != HAL_OK) {
	Error_Handler();
}
HAL_TIM_MspPostInit(&htim9);

}

static void MX_UART4_Init(void) {

huart4.Instance = UART4;
huart4.Init.BaudRate = 9600;
huart4.Init.WordLength = UART_WORDLENGTH_8B;
huart4.Init.StopBits = UART_STOPBITS_1;
huart4.Init.Parity = UART_PARITY_NONE;
huart4.Init.Mode = UART_MODE_TX_RX;
huart4.Init.HwFlowCtl = UART_HWCONTROL_NONE;
huart4.Init.OverSampling = UART_OVERSAMPLING_16;
huart4.Init.OneBitSampling = UART_ONE_BIT_SAMPLE_DISABLE;
huart4.AdvancedInit.AdvFeatureInit = UART_ADVFEATURE_NO_INIT;
if (HAL_UART_Init(&huart4) != HAL_OK) {
	Error_Handler();
}

}

static void MX_UART5_Init(void) {

huart5.Instance = UART5;
huart5.Init.BaudRate = 115200;
huart5.Init.WordLength = UART_WORDLENGTH_8B;
huart5.Init.StopBits = UART_STOPBITS_1;
huart5.Init.Parity = UART_PARITY_NONE;
huart5.Init.Mode = UART_MODE_TX_RX;
huart5.Init.HwFlowCtl = UART_HWCONTROL_NONE;
huart5.Init.OverSampling = UART_OVERSAMPLING_16;
huart5.Init.OneBitSampling = UART_ONE_BIT_SAMPLE_DISABLE;
huart5.AdvancedInit.AdvFeatureInit = UART_ADVFEATURE_NO_INIT;
if (HAL_UART_Init(&huart5) != HAL_OK) {
	Error_Handler();
}

}

static void MX_USART1_UART_Init(void) {

huart1.Instance = USART1;
huart1.Init.BaudRate = 115200;
huart1.Init.WordLength = UART_WORDLENGTH_8B;
huart1.Init.StopBits = UART_STOPBITS_1;
huart1.Init.Parity = UART_PARITY_NONE;
huart1.Init.Mode = UART_MODE_TX_RX;
huart1.Init.HwFlowCtl = UART_HWCONTROL_NONE;
huart1.Init.OverSampling = UART_OVERSAMPLING_16;
huart1.Init.OneBitSampling = UART_ONE_BIT_SAMPLE_DISABLE;
huart1.AdvancedInit.AdvFeatureInit = UART_ADVFEATURE_NO_INIT;
if (HAL_UART_Init(&huart1) != HAL_OK) {
	Error_Handler();
}

}

static void MX_USART2_UART_Init(void) {

huart2.Instance = USART2;
huart2.Init.BaudRate = 1000000;
huart2.Init.WordLength = UART_WORDLENGTH_8B;
huart2.Init.StopBits = UART_STOPBITS_1;
huart2.Init.Parity = UART_PARITY_NONE;
huart2.Init.Mode = UART_MODE_TX_RX;
huart2.Init.HwFlowCtl = UART_HWCONTROL_NONE;
huart2.Init.OverSampling = UART_OVERSAMPLING_16;
huart2.Init.OneBitSampling = UART_ONE_BIT_SAMPLE_DISABLE;
huart2.AdvancedInit.AdvFeatureInit = UART_ADVFEATURE_NO_INIT;
if (HAL_UART_Init(&huart2) != HAL_OK) {
	Error_Handler();
}

}

static void MX_USART3_UART_Init(void) {

huart3.Instance = USART3;
huart3.Init.BaudRate = 115200;
huart3.Init.WordLength = UART_WORDLENGTH_8B;
huart3.Init.StopBits = UART_STOPBITS_1;
huart3.Init.Parity = UART_PARITY_NONE;
huart3.Init.Mode = UART_MODE_TX_RX;
huart3.Init.HwFlowCtl = UART_HWCONTROL_NONE;
huart3.Init.OverSampling = UART_OVERSAMPLING_16;
huart3.Init.OneBitSampling = UART_ONE_BIT_SAMPLE_DISABLE;
huart3.AdvancedInit.AdvFeatureInit = UART_ADVFEATURE_NO_INIT;
if (HAL_UART_Init(&huart3) != HAL_OK) {
	Error_Handler();
}

}

static void MX_GPIO_Init(void) {
GPIO_InitTypeDef GPIO_InitStruct = { 0 };

/* GPIO Ports Clock Enable */
__HAL_RCC_GPIOE_CLK_ENABLE();
__HAL_RCC_GPIOC_CLK_ENABLE();
__HAL_RCC_GPIOF_CLK_ENABLE();
__HAL_RCC_GPIOH_CLK_ENABLE();
__HAL_RCC_GPIOA_CLK_ENABLE();
__HAL_RCC_GPIOB_CLK_ENABLE();
__HAL_RCC_GPIOD_CLK_ENABLE();
__HAL_RCC_GPIOG_CLK_ENABLE();

/*Configure GPIO pin Output Level */
HAL_GPIO_WritePin(GPIOE,
GPIO_OUT_SPI_CS_SDCARD_Pin | GPIO_OUT_SPI_CS_LCD_Pin, GPIO_PIN_RESET);

/*Configure GPIO pin Output Level */
HAL_GPIO_WritePin(GPIOB, LD1_Pin | LD3_Pin | LD2_Pin, GPIO_PIN_RESET);

/*Configure GPIO pin Output Level */
HAL_GPIO_WritePin(GPIOG, GPIO_PIN_6, GPIO_PIN_RESET);

/*Configure GPIO pins : GPIO_OUT_SPI_CS_SDCARD_Pin GPIO_OUT_SPI_CS_LCD_Pin */
GPIO_InitStruct.Pin = GPIO_OUT_SPI_CS_SDCARD_Pin | GPIO_OUT_SPI_CS_LCD_Pin;
GPIO_InitStruct.Mode = GPIO_MODE_OUTPUT_PP;
GPIO_InitStruct.Pull = GPIO_NOPULL;
GPIO_InitStruct.Speed = GPIO_SPEED_FREQ_LOW;
HAL_GPIO_Init(GPIOE, &GPIO_InitStruct);

/*Configure GPIO pins : GPIO_EXTI3_IMU_IRQ_Pin GPIO_EXTI8_USER_BUT1_IRQ_Pin GPIO_EXTI9_USER_BUT2_IRQ_Pin GPIO_EXTI10_BUMP1_IRQ_Pin
 GPIO_EXTI11_BUMP2_IRQ_Pin GPIO_EXTI12_BUMP3_IRQ_Pin GPIO_EXTI13_BUMP4_IRQ_Pin */
GPIO_InitStruct.Pin = GPIO_EXTI3_IMU_IRQ_Pin | GPIO_EXTI8_USER_BUT1_IRQ_Pin
		| GPIO_EXTI9_USER_BUT2_IRQ_Pin | GPIO_EXTI10_BUMP1_IRQ_Pin
		| GPIO_EXTI11_BUMP2_IRQ_Pin | GPIO_EXTI12_BUMP3_IRQ_Pin
		| GPIO_EXTI13_BUMP4_IRQ_Pin;
GPIO_InitStruct.Mode = GPIO_MODE_IT_RISING;
GPIO_InitStruct.Pull = GPIO_NOPULL;
HAL_GPIO_Init(GPIOF, &GPIO_InitStruct);

/*Configure GPIO pin : GPIO_EXTI4_KPAD_IRQ_Pin */
GPIO_InitStruct.Pin = GPIO_EXTI4_KPAD_IRQ_Pin;
GPIO_InitStruct.Mode = GPIO_MODE_IT_FALLING;
GPIO_InitStruct.Pull = GPIO_NOPULL;
HAL_GPIO_Init(GPIO_EXTI4_KPAD_IRQ_GPIO_Port, &GPIO_InitStruct);

/*Configure GPIO pins : RMII_MDC_Pin RMII_RXD0_Pin RMII_RXD1_Pin */
GPIO_InitStruct.Pin = RMII_MDC_Pin | RMII_RXD0_Pin | RMII_RXD1_Pin;
GPIO_InitStruct.Mode = GPIO_MODE_AF_PP;
GPIO_InitStruct.Pull = GPIO_NOPULL;
GPIO_InitStruct.Speed = GPIO_SPEED_FREQ_VERY_HIGH;
GPIO_InitStruct.Alternate = GPIO_AF11_ETH;
HAL_GPIO_Init(GPIOC, &GPIO_InitStruct);

/*Configure GPIO pins : RMII_REF_CLK_Pin RMII_MDIO_Pin RMII_CRS_DV_Pin */
GPIO_InitStruct.Pin = RMII_REF_CLK_Pin | RMII_MDIO_Pin | RMII_CRS_DV_Pin;
GPIO_InitStruct.Mode = GPIO_MODE_AF_PP;
GPIO_InitStruct.Pull = GPIO_NOPULL;
GPIO_InitStruct.Speed = GPIO_SPEED_FREQ_VERY_HIGH;
GPIO_InitStruct.Alternate = GPIO_AF11_ETH;
HAL_GPIO_Init(GPIOA, &GPIO_InitStruct);

/*Configure GPIO pins : LD1_Pin LD3_Pin LD2_Pin */
GPIO_InitStruct.Pin = LD1_Pin | LD3_Pin | LD2_Pin;
GPIO_InitStruct.Mode = GPIO_MODE_OUTPUT_PP;
GPIO_InitStruct.Pull = GPIO_NOPULL;
GPIO_InitStruct.Speed = GPIO_SPEED_FREQ_LOW;
HAL_GPIO_Init(GPIOB, &GPIO_InitStruct);

/*Configure GPIO pin : RMII_TXD1_Pin */
GPIO_InitStruct.Pin = RMII_TXD1_Pin;
GPIO_InitStruct.Mode = GPIO_MODE_AF_PP;
GPIO_InitStruct.Pull = GPIO_NOPULL;
GPIO_InitStruct.Speed = GPIO_SPEED_FREQ_VERY_HIGH;
GPIO_InitStruct.Alternate = GPIO_AF11_ETH;
HAL_GPIO_Init(RMII_TXD1_GPIO_Port, &GPIO_InitStruct);

/*Configure GPIO pin : PG6 */
GPIO_InitStruct.Pin = GPIO_PIN_6;
GPIO_InitStruct.Mode = GPIO_MODE_OUTPUT_PP;
GPIO_InitStruct.Pull = GPIO_NOPULL;
GPIO_InitStruct.Speed = GPIO_SPEED_FREQ_LOW;
HAL_GPIO_Init(GPIOG, &GPIO_InitStruct);

/*Configure GPIO pin : USB_OverCurrent_Pin */
GPIO_InitStruct.Pin = USB_OverCurrent_Pin;
GPIO_InitStruct.Mode = GPIO_MODE_INPUT;
GPIO_InitStruct.Pull = GPIO_NOPULL;
HAL_GPIO_Init(USB_OverCurrent_GPIO_Port, &GPIO_InitStruct);

/*Configure GPIO pins : USB_SOF_Pin USB_ID_Pin USB_DM_Pin USB_DP_Pin */
GPIO_InitStruct.Pin = USB_SOF_Pin | USB_ID_Pin | USB_DM_Pin | USB_DP_Pin;
GPIO_InitStruct.Mode = GPIO_MODE_AF_PP;
GPIO_InitStruct.Pull = GPIO_NOPULL;
GPIO_InitStruct.Speed = GPIO_SPEED_FREQ_VERY_HIGH;
GPIO_InitStruct.Alternate = GPIO_AF10_OTG_FS;
HAL_GPIO_Init(GPIOA, &GPIO_InitStruct);

/*Configure GPIO pin : USB_VBUS_Pin */
GPIO_InitStruct.Pin = USB_VBUS_Pin;
GPIO_InitStruct.Mode = GPIO_MODE_INPUT;
GPIO_InitStruct.Pull = GPIO_NOPULL;
HAL_GPIO_Init(USB_VBUS_GPIO_Port, &GPIO_InitStruct);

/*Configure GPIO pins : RMII_TX_EN_Pin RMII_TXD0_Pin */
GPIO_InitStruct.Pin = RMII_TX_EN_Pin | RMII_TXD0_Pin;
GPIO_InitStruct.Mode = GPIO_MODE_AF_PP;
GPIO_InitStruct.Pull = GPIO_NOPULL;
GPIO_InitStruct.Speed = GPIO_SPEED_FREQ_VERY_HIGH;
GPIO_InitStruct.Alternate = GPIO_AF11_ETH;
HAL_GPIO_Init(GPIOG, &GPIO_InitStruct);

}

void Error_Handler(void) {
/* USER CODE BEGIN Error_Handler_Debug */
/* User can add his own implementation to report the HAL error return state */
__disable_irq();
while (1) {
	static uint32_t kLed = 0;
	if (++kLed >= 1000) {
		kLed = 0;
		HAL_GPIO_TogglePin(LD3_GPIO_Port, LD3_Pin);
	}
}
/* USER CODE END Error_Handler_Debug */
}
